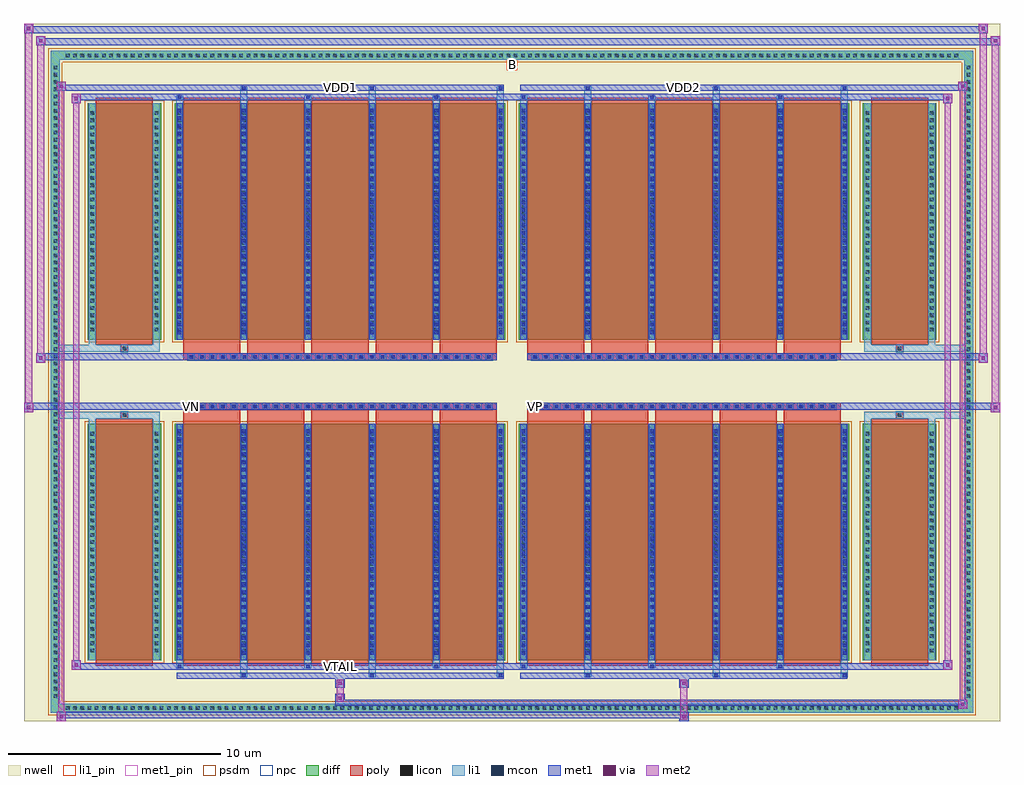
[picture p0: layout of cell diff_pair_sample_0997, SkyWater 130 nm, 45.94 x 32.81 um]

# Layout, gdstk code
import gdstk
lib = gdstk.Library(unit=1e-6, precision=5e-09)
def R(c, l, rs):  # rectangles x0, y0, x1, y1
    for r in rs: c.add(gdstk.rectangle(r[:2], r[2:], *l))
def A(c, l, x, y, w, h, nx, ny, dx, dy):  # array of equal rectangles
    R(c, l, [(x+i*dx, y+j*dy, x+i*dx+w, y+j*dy+h) for i in range(nx) for j in range(ny)])
def P(c, l, *ps):  # polygons
    for p in ps: c.add(gdstk.Polygon(p, *l))
nwell = (64, 20)
diff = (65, 20)
poly = (66, 20)
licon = (66, 44)
li1_pin = (67, 16)
li1 = (67, 20)
mcon = (67, 44)
met1_pin = (68, 16)
met1 = (68, 20)
via = (68, 44)
met2 = (69, 20)
psdm = (94, 20)
npc = (95, 20)

diff_pair_sample_0997 = lib.new_cell('diff_pair_sample_0997')
R(diff_pair_sample_0997, nwell, [(-22.97,-15.97,22.97,16.84), (-20.29,-14.16,-0.01,-0.8), (0.01,-14.16,20.29,-0.8), (-20.29,0.8,-0.01,14.16), (0.01,0.8,20.29,14.16)])
A(diff_pair_sample_0997, diff, -21.115, -15.57, 0.41, 0.41, 124, 2, 0.34, 30.73)
A(diff_pair_sample_0997, diff, -21.7, -14.995, 0.41, 0.41, 1, 88, 0, 0.34)
A(diff_pair_sample_0997, diff, 21.29, -14.995, 0.41, 0.41, 1, 88, 0, 0.34)
R(diff_pair_sample_0997, diff, [(-21.115,-15.57,21.115,-15.16), (-21.7,-14.995,-21.29,14.995), (21.29,-14.995,21.7,14.995), (-19.98,-13.115,-16.51,-1.985), (-15.87,-13.115,-0.32,-1.985), (0.32,-13.115,15.87,-1.985), (16.51,-13.115,19.98,-1.985), (-19.98,1.985,-16.51,13.115), (-15.87,1.985,-0.32,13.115), (0.32,1.985,15.87,13.115), (16.51,1.985,19.98,13.115), (-21.115,15.16,21.115,15.57)])
P(diff_pair_sample_0997, diff, [(21.7,15.57),(-21.7,15.57),(-21.7,-15.16),(-21.29,-15.16),(-21.29,15.16),(21.29,15.16),(21.29,-15.16),(-21.29,-15.16),(-21.7,-15.16),(-21.7,-15.57),(21.7,-15.57)])
A(diff_pair_sample_0997, poly, -15.48, -13.365, 2.69, 11.63, 5, 2, 3.02, 15.1)
A(diff_pair_sample_0997, poly, 0.71, -13.365, 2.69, 11.63, 5, 2, 3.02, 15.1)
A(diff_pair_sample_0997, poly, -15.48, -1.735, 2.69, 0.405, 5, 2, 3.02, 3.065)
A(diff_pair_sample_0997, poly, 0.71, -1.735, 2.69, 0.405, 5, 2, 3.02, 3.065)
A(diff_pair_sample_0997, poly, -15.26, -1.33, 0.33, 0.33, 29, 2, 0.5, 2.33)
A(diff_pair_sample_0997, poly, 0.93, -1.33, 0.33, 0.33, 29, 2, 0.5, 2.33)
R(diff_pair_sample_0997, poly, [(-19.59,-13.365,-16.9,-1.735), (16.9,-13.365,19.59,-1.735), (-18.41,-1.735,-18.08,-1.405), (-18.41,-1.735,-18.08,-1.405), (18.08,-1.735,18.41,-1.405), (18.08,-1.735,18.41,-1.405), (-15.48,-1.33,-0.71,-1), (0.71,-1.33,15.48,-1), (-15.48,1,-0.71,1.33), (0.71,1,15.48,1.33), (-18.41,1.405,-18.08,1.735), (-18.41,1.405,-18.08,1.735), (18.08,1.405,18.41,1.735), (18.08,1.405,18.41,1.735), (-19.59,1.735,-16.9,13.365), (16.9,1.735,19.59,13.365)])
A(diff_pair_sample_0997, licon, -20.995, -15.45, 0.17, 0.17, 124, 2, 0.34, 30.73)
A(diff_pair_sample_0997, licon, -21.58, -14.875, 0.17, 0.17, 1, 88, 0, 0.34)
A(diff_pair_sample_0997, licon, 21.41, -14.875, 0.17, 0.17, 1, 88, 0, 0.34)
A(diff_pair_sample_0997, licon, -19.84, -12.735, 0.17, 0.17, 1, 31, 0, 0.34)
A(diff_pair_sample_0997, licon, -16.82, -12.735, 0.17, 0.17, 1, 31, 0, 0.34)
A(diff_pair_sample_0997, licon, -15.73, -12.735, 0.17, 0.17, 6, 31, 3.02, 0.34)
A(diff_pair_sample_0997, licon, 0.46, -12.735, 0.17, 0.17, 6, 31, 3.02, 0.34)
A(diff_pair_sample_0997, licon, 16.65, -12.735, 0.17, 0.17, 1, 31, 0, 0.34)
A(diff_pair_sample_0997, licon, 19.67, -12.735, 0.17, 0.17, 1, 31, 0, 0.34)
A(diff_pair_sample_0997, licon, -15.18, -1.25, 0.17, 0.17, 29, 2, 0.5, 2.33)
A(diff_pair_sample_0997, licon, 1.01, -1.25, 0.17, 0.17, 29, 2, 0.5, 2.33)
A(diff_pair_sample_0997, licon, -19.84, 2.365, 0.17, 0.17, 1, 31, 0, 0.34)
A(diff_pair_sample_0997, licon, -16.82, 2.365, 0.17, 0.17, 1, 31, 0, 0.34)
A(diff_pair_sample_0997, licon, -15.73, 2.365, 0.17, 0.17, 6, 31, 3.02, 0.34)
A(diff_pair_sample_0997, licon, 0.46, 2.365, 0.17, 0.17, 6, 31, 3.02, 0.34)
A(diff_pair_sample_0997, licon, 16.65, 2.365, 0.17, 0.17, 1, 31, 0, 0.34)
A(diff_pair_sample_0997, licon, 19.67, 2.365, 0.17, 0.17, 1, 31, 0, 0.34)
R(diff_pair_sample_0997, licon, [(-18.33,-1.655,-18.16,-1.485), (18.16,-1.655,18.33,-1.485), (-18.33,1.485,-18.16,1.655), (18.16,1.485,18.33,1.655)])
R(diff_pair_sample_0997, li1_pin, [(-0.25,14.66,0.25,15.16)])
A(diff_pair_sample_0997, li1, -21.075, -15.53, 0.33, 0.33, 124, 2, 0.34, 30.73)
A(diff_pair_sample_0997, li1, -21.66, -14.955, 0.33, 0.33, 1, 88, 0, 0.34)
A(diff_pair_sample_0997, li1, 21.33, -14.955, 0.33, 0.33, 1, 88, 0, 0.34)
A(diff_pair_sample_0997, li1, -12.79, -13.92, 0.33, 0.805, 3, 2, 6.04, 27.035)
A(diff_pair_sample_0997, li1, -12.71, -13.92, 0.17, 0.17, 3, 2, 6.04, 27.67)
A(diff_pair_sample_0997, li1, 3.4, -13.92, 0.33, 0.805, 3, 2, 6.04, 27.035)
A(diff_pair_sample_0997, li1, 3.48, -13.92, 0.17, 0.17, 3, 2, 6.04, 27.67)
A(diff_pair_sample_0997, li1, -15.81, -13.49, 0.33, 0.375, 3, 2, 6.04, 26.605)
A(diff_pair_sample_0997, li1, -15.73, -13.49, 0.17, 0.17, 3, 2, 6.04, 26.81)
A(diff_pair_sample_0997, li1, 0.38, -13.49, 0.33, 0.375, 3, 2, 6.04, 26.605)
A(diff_pair_sample_0997, li1, 0.46, -13.49, 0.17, 0.17, 3, 2, 6.04, 26.81)
A(diff_pair_sample_0997, li1, -15.81, -13.115, 0.33, 11.13, 6, 2, 3.02, 15.1)
A(diff_pair_sample_0997, li1, 0.38, -13.115, 0.33, 11.13, 6, 2, 3.02, 15.1)
A(diff_pair_sample_0997, li1, -15.73, -12.855, 0.17, 0.17, 6, 30, 3.02, 0.36)
A(diff_pair_sample_0997, li1, -15.73, -12.855, 0.17, 10.61, 6, 2, 3.02, 15.1)
A(diff_pair_sample_0997, li1, 0.46, -12.855, 0.17, 0.17, 6, 30, 3.02, 0.36)
A(diff_pair_sample_0997, li1, 0.46, -12.855, 0.17, 10.61, 6, 2, 3.02, 15.1)
A(diff_pair_sample_0997, li1, -19.92, -12.815, 0.33, 0.33, 1, 31, 0, 0.34)
A(diff_pair_sample_0997, li1, -16.9, -12.815, 0.33, 0.33, 1, 31, 0, 0.34)
A(diff_pair_sample_0997, li1, -15.81, -12.815, 0.33, 0.33, 6, 31, 3.02, 0.34)
A(diff_pair_sample_0997, li1, 0.38, -12.815, 0.33, 0.33, 6, 31, 3.02, 0.34)
A(diff_pair_sample_0997, li1, 16.57, -12.815, 0.33, 0.33, 1, 31, 0, 0.34)
A(diff_pair_sample_0997, li1, 19.59, -12.815, 0.33, 0.33, 1, 31, 0, 0.34)
A(diff_pair_sample_0997, li1, -15.26, -1.33, 0.33, 0.33, 29, 2, 0.5, 2.33)
A(diff_pair_sample_0997, li1, 0.93, -1.33, 0.33, 0.33, 29, 2, 0.5, 2.33)
A(diff_pair_sample_0997, li1, -15.73, 2.245, 0.17, 0.17, 6, 30, 3.02, 0.36)
A(diff_pair_sample_0997, li1, 0.46, 2.245, 0.17, 0.17, 6, 30, 3.02, 0.36)
A(diff_pair_sample_0997, li1, -19.92, 2.285, 0.33, 0.33, 1, 31, 0, 0.34)
A(diff_pair_sample_0997, li1, -16.9, 2.285, 0.33, 0.33, 1, 31, 0, 0.34)
A(diff_pair_sample_0997, li1, -15.81, 2.285, 0.33, 0.33, 6, 31, 3.02, 0.34)
A(diff_pair_sample_0997, li1, 0.38, 2.285, 0.33, 0.33, 6, 31, 3.02, 0.34)
A(diff_pair_sample_0997, li1, 16.57, 2.285, 0.33, 0.33, 1, 31, 0, 0.34)
A(diff_pair_sample_0997, li1, 19.59, 2.285, 0.33, 0.33, 1, 31, 0, 0.34)
R(diff_pair_sample_0997, li1, [(-21.7,-15.57,-21.29,-15.16), (-21.7,-15.57,-21.29,-15.16), (-21.29,-15.57,21.29,-15.16), (21.29,-15.57,21.7,-15.16), (21.29,-15.57,21.7,-15.16), (-21.7,-15.16,-21.29,15.16), (21.29,-15.16,21.7,15.16), (-19.92,-13.115,-19.59,-1.985), (-16.9,-13.115,-16.57,-1.985), (16.57,-13.115,16.9,-1.985), (19.59,-13.115,19.92,-1.985), (-19.92,-1.985,-19.59,-1.405), (-16.9,-1.985,-16.57,-1.405), (16.57,-1.985,16.9,-1.405), (19.59,-1.985,19.92,-1.405), (-21.7,-1.735,-18.41,-1.405), (-19.92,-1.735,-18.41,-1.405), (-18.41,-1.735,-18.08,-1.405), (-18.08,-1.735,-16.57,-1.405), (16.57,-1.735,18.08,-1.405), (18.08,-1.735,18.41,-1.405), (18.08,-1.735,21.7,-1.405), (18.41,-1.735,19.92,-1.405), (-21.7,1.405,-18.41,1.735), (-19.92,1.405,-18.41,1.735), (-19.92,1.405,-19.59,1.985), (-18.41,1.405,-18.08,1.735), (-18.08,1.405,-16.57,1.735), (-16.9,1.405,-16.57,1.985), (16.57,1.405,18.08,1.735), (16.57,1.405,16.9,1.985), (18.08,1.405,18.41,1.735), (18.08,1.405,21.7,1.735), (18.41,1.405,19.92,1.735), (19.59,1.405,19.92,1.985), (-19.92,1.985,-19.59,13.115), (-16.9,1.985,-16.57,13.115), (16.57,1.985,16.9,13.115), (19.59,1.985,19.92,13.115), (-21.7,15.16,-21.29,15.57), (-21.7,15.16,-21.29,15.57), (-21.29,15.16,21.29,15.57), (21.29,15.16,21.7,15.57), (21.29,15.16,21.7,15.57)])
A(diff_pair_sample_0997, mcon, -12.71, -13.92, 0.17, 0.17, 3, 2, 6.04, 27.67)
A(diff_pair_sample_0997, mcon, 3.48, -13.92, 0.17, 0.17, 3, 2, 6.04, 27.67)
A(diff_pair_sample_0997, mcon, -15.73, -13.49, 0.17, 0.17, 3, 2, 6.04, 26.81)
A(diff_pair_sample_0997, mcon, 0.46, -13.49, 0.17, 0.17, 3, 2, 6.04, 26.81)
A(diff_pair_sample_0997, mcon, -15.73, -12.855, 0.17, 0.17, 6, 30, 3.02, 0.36)
A(diff_pair_sample_0997, mcon, 0.46, -12.855, 0.17, 0.17, 6, 30, 3.02, 0.36)
A(diff_pair_sample_0997, mcon, -15.18, -1.25, 0.17, 0.17, 29, 2, 0.5, 2.33)
A(diff_pair_sample_0997, mcon, 1.01, -1.25, 0.17, 0.17, 29, 2, 0.5, 2.33)
A(diff_pair_sample_0997, mcon, -15.73, 2.245, 0.17, 0.17, 6, 30, 3.02, 0.36)
A(diff_pair_sample_0997, mcon, 0.46, 2.245, 0.17, 0.17, 6, 30, 3.02, 0.36)
R(diff_pair_sample_0997, met1_pin, [(-8.23,-13.53,-7.96,-13.26), (-15.23,-1.29,-14.96,-1.02), (0.96,-1.29,1.23,-1.02), (-8.23,13.71,-7.96,13.98), (7.96,13.71,8.23,13.98)])
A(diff_pair_sample_0997, met1, -12.77, -13.98, 0.29, 0.29, 3, 2, 6.04, 27.67)
A(diff_pair_sample_0997, met1, 3.42, -13.98, 0.29, 0.29, 3, 2, 6.04, 27.67)
A(diff_pair_sample_0997, met1, -15.79, -13.55, 0.29, 0.29, 3, 2, 6.04, 26.81)
A(diff_pair_sample_0997, met1, 0.4, -13.55, 0.29, 0.29, 3, 2, 6.04, 26.81)
A(diff_pair_sample_0997, met1, -15.79, -13.115, 0.29, 11.13, 6, 2, 3.02, 15.1)
A(diff_pair_sample_0997, met1, 0.4, -13.115, 0.29, 11.13, 6, 2, 3.02, 15.1)
A(diff_pair_sample_0997, met1, -15.79, -12.915, 0.29, 0.29, 6, 30, 3.02, 0.36)
A(diff_pair_sample_0997, met1, 0.4, -12.915, 0.29, 0.29, 6, 30, 3.02, 0.36)
A(diff_pair_sample_0997, met1, -15.24, -1.31, 0.29, 0.29, 29, 2, 0.5, 2.33)
A(diff_pair_sample_0997, met1, 0.95, -1.31, 0.29, 0.29, 29, 2, 0.5, 2.33)
A(diff_pair_sample_0997, met1, -15.79, 2.185, 0.29, 0.29, 6, 30, 3.02, 0.36)
A(diff_pair_sample_0997, met1, 0.4, 2.185, 0.29, 0.29, 6, 30, 3.02, 0.36)
R(diff_pair_sample_0997, met1, [(-21.43,-15.97,-21,-15.54), (7.88,-15.97,8.31,-15.54), (-21.43,-15.83,8.31,-15.54), (21,-15.4,21.43,-14.97), (-8.31,-15.26,21.43,-14.97), (-8.31,-15.12,-7.88,-14.69), (-8.31,-14.41,-7.88,-13.98), (7.88,-14.41,8.31,-13.98), (-15.79,-13.98,-0.4,-13.69), (0.4,-13.98,15.79,-13.69), (-20.72,-13.55,-20.29,-13.12), (-20.72,-13.55,-15.79,-13.26), (-15.79,-13.55,-0.4,-13.26), (-0.4,-13.55,0.4,-13.26), (0.4,-13.55,15.79,-13.26), (15.79,-13.55,20.72,-13.26), (20.29,-13.55,20.72,-13.12), (-22.97,-1.43,-22.54,-1), (22.54,-1.43,22.97,-1), (-22.97,-1.33,-0.71,-1), (-15.48,-1.33,-0.71,-1), (0.71,-1.33,15.48,-1), (0.71,-1.33,22.97,-1), (-22.4,0.9,-21.97,1.33), (21.97,0.9,22.4,1.33), (-22.4,1,-15.48,1.33), (-15.48,1,-0.71,1.33), (0.71,1,15.48,1.33), (15.48,1,22.4,1.33), (-20.72,13.12,-20.29,13.55), (20.29,13.12,20.72,13.55), (-20.72,13.26,-15.79,13.55), (-15.79,13.26,-0.4,13.55), (-0.4,13.26,0.4,13.55), (0.4,13.26,15.79,13.55), (15.79,13.26,20.72,13.55), (-21.43,13.69,-21,14.12), (-21.43,13.69,-15.79,13.98), (-15.79,13.69,-0.4,13.98), (0.4,13.69,15.79,13.98), (15.79,13.69,21.43,13.98), (21,13.69,21.43,14.12), (-22.4,15.84,-21.97,16.27), (-22.4,15.84,-20.29,16.17), (-20.29,15.84,20.29,16.17), (20.29,15.84,22.97,16.17), (22.54,15.84,22.97,16.27), (-22.97,16.41,-22.54,16.84), (-22.97,16.41,-20.29,16.74), (-20.29,16.41,20.29,16.74), (20.29,16.41,22.4,16.74), (21.97,16.41,22.4,16.84)])
R(diff_pair_sample_0997, via, [(-21.29,-15.83,-21.14,-15.68), (8.02,-15.83,8.17,-15.68), (21.14,-15.26,21.29,-15.11), (-8.17,-14.98,-8.02,-14.83), (-8.17,-14.27,-8.02,-14.12), (8.02,-14.27,8.17,-14.12), (-20.58,-13.41,-20.43,-13.26), (20.43,-13.41,20.58,-13.26), (-22.83,-1.29,-22.68,-1.14), (22.68,-1.29,22.83,-1.14), (-22.26,1.04,-22.11,1.19), (22.11,1.04,22.26,1.19), (-20.58,13.26,-20.43,13.41), (20.43,13.26,20.58,13.41), (-21.29,13.83,-21.14,13.98), (21.14,13.83,21.29,13.98), (-22.26,15.98,-22.11,16.13), (22.68,15.98,22.83,16.13), (-22.83,16.55,-22.68,16.7), (22.11,16.55,22.26,16.7)])
R(diff_pair_sample_0997, met2, [(-21.43,-15.97,-21,-15.54), (-21.36,-15.97,-21.07,14.12), (-21.07,-15.97,-21,-15.54), (-21.38,-15.92,-21.05,-15.59), (7.93,-15.92,8.26,-15.59), (7.93,-15.59,8.26,-14.36), (21,-15.4,21.43,-14.97), (21.07,-15.4,21.36,14.12), (21.36,-15.4,21.43,-14.97), (21.05,-15.35,21.38,-15.02), (-8.26,-15.07,-7.93,-14.74), (-8.26,-14.74,-7.93,-14.36), (-8.26,-14.36,-7.93,-14.03), (7.93,-14.36,8.26,-14.03), (-20.72,-13.55,-20.29,-13.12), (-20.65,-13.55,-20.36,13.55), (-20.36,-13.55,-20.29,-13.12), (20.29,-13.55,20.72,-13.12), (20.36,-13.55,20.65,13.55), (20.65,-13.55,20.72,-13.12), (-20.67,-13.5,-20.34,-13.17), (20.34,-13.5,20.67,-13.17), (-22.97,-1.43,-22.54,-1), (-22.92,-1.43,-22.59,16.84), (-22.59,-1.43,-22.54,-1), (22.54,-1.43,22.97,-1), (22.59,-1.43,22.92,16.27), (22.92,-1.43,22.97,-1), (-22.92,-1.38,-22.59,-1.05), (22.59,-1.38,22.92,-1.05), (-22.4,0.9,-21.97,1.33), (-22.35,0.9,-22.02,16.27), (-22.02,0.9,-21.97,1.33), (21.97,0.9,22.4,1.33), (22.02,0.9,22.35,16.84), (22.35,0.9,22.4,1.33), (-22.35,0.95,-22.02,1.28), (22.02,0.95,22.35,1.28), (-20.72,13.12,-20.29,13.55), (-20.36,13.12,-20.29,13.55), (20.29,13.12,20.72,13.55), (20.65,13.12,20.72,13.55), (-20.67,13.17,-20.34,13.5), (20.34,13.17,20.67,13.5), (-21.43,13.69,-21,14.12), (-21.07,13.69,-21,14.12), (21,13.69,21.43,14.12), (21.36,13.69,21.43,14.12), (-21.38,13.74,-21.05,14.07), (21.05,13.74,21.38,14.07), (-22.4,15.84,-21.97,16.27), (-22.02,15.84,-21.97,16.27), (22.54,15.84,22.97,16.27), (22.92,15.84,22.97,16.27), (-22.35,15.89,-22.02,16.22), (22.59,15.89,22.92,16.22), (-22.97,16.41,-22.54,16.84), (-22.59,16.41,-22.54,16.84), (21.97,16.41,22.4,16.84), (22.35,16.41,22.4,16.84), (-22.92,16.46,-22.59,16.79), (22.02,16.46,22.35,16.79)])
R(diff_pair_sample_0997, psdm, [(-20.11,-13.245,-16.38,-1.855), (-16,-13.245,-0.19,-1.855), (0.19,-13.245,16,-1.855), (16.38,-13.245,20.11,-1.855), (-20.11,1.855,-16.38,13.245), (-16,1.855,-0.19,13.245), (0.19,1.855,16,13.245), (16.38,1.855,20.11,13.245)])
P(diff_pair_sample_0997, psdm, [(21.83,15.7),(-21.83,15.7),(-21.83,-15.03),(-21.16,-15.03),(-21.16,15.03),(21.16,15.03),(21.16,-15.03),(-21.16,-15.03),(-21.83,-15.03),(-21.83,-15.7),(21.83,-15.7)])
A(diff_pair_sample_0997, npc, -15.28, -1.35, 0.37, 0.37, 29, 2, 0.5, 2.33)
A(diff_pair_sample_0997, npc, 0.91, -1.35, 0.37, 0.37, 29, 2, 0.5, 2.33)
R(diff_pair_sample_0997, npc, [(-18.43,-1.755,-18.06,-1.385), (18.06,-1.755,18.43,-1.385), (-15.28,-1.35,-14.41,-0.98), (-15.28,-1.35,-14.41,-0.98), (-14.78,-1.35,-13.91,-0.98), (-14.78,-1.35,-13.91,-0.98), (-14.28,-1.35,-13.41,-0.98), (-14.28,-1.35,-13.41,-0.98), (-13.78,-1.35,-12.91,-0.98), (-13.78,-1.35,-12.91,-0.98), (-13.28,-1.35,-12.41,-0.98), (-13.28,-1.35,-12.41,-0.98), (-12.78,-1.35,-11.91,-0.98), (-12.78,-1.35,-11.91,-0.98), (-12.28,-1.35,-11.41,-0.98), (-12.28,-1.35,-11.41,-0.98), (-11.78,-1.35,-10.91,-0.98), (-11.78,-1.35,-10.91,-0.98), (-11.28,-1.35,-10.41,-0.98), (-11.28,-1.35,-10.41,-0.98), (-10.78,-1.35,-9.91,-0.98), (-10.78,-1.35,-9.91,-0.98), (-10.28,-1.35,-9.41,-0.98), (-10.28,-1.35,-9.41,-0.98), (-9.78,-1.35,-8.91,-0.98), (-9.78,-1.35,-8.91,-0.98), (-9.28,-1.35,-8.41,-0.98), (-9.28,-1.35,-8.41,-0.98), (-8.78,-1.35,-7.91,-0.98), (-8.78,-1.35,-7.91,-0.98), (-8.28,-1.35,-7.41,-0.98), (-8.28,-1.35,-7.41,-0.98), (-7.78,-1.35,-6.91,-0.98), (-7.78,-1.35,-6.91,-0.98), (-7.28,-1.35,-6.41,-0.98), (-7.28,-1.35,-6.41,-0.98), (-6.78,-1.35,-5.91,-0.98), (-6.78,-1.35,-5.91,-0.98), (-6.28,-1.35,-5.41,-0.98), (-6.28,-1.35,-5.41,-0.98), (-5.78,-1.35,-4.91,-0.98), (-5.78,-1.35,-4.91,-0.98), (-5.28,-1.35,-4.41,-0.98), (-5.28,-1.35,-4.41,-0.98), (-4.78,-1.35,-3.91,-0.98), (-4.78,-1.35,-3.91,-0.98), (-4.28,-1.35,-3.41,-0.98), (-4.28,-1.35,-3.41,-0.98), (-3.78,-1.35,-2.91,-0.98), (-3.78,-1.35,-2.91,-0.98), (-3.28,-1.35,-2.41,-0.98), (-3.28,-1.35,-2.41,-0.98), (-2.78,-1.35,-1.91,-0.98), (-2.78,-1.35,-1.91,-0.98), (-2.28,-1.35,-1.41,-0.98), (-2.28,-1.35,-1.41,-0.98), (-1.78,-1.35,-0.91,-0.98), (-1.78,-1.35,-0.91,-0.98), (0.91,-1.35,1.78,-0.98), (0.91,-1.35,1.78,-0.98), (1.41,-1.35,2.28,-0.98), (1.41,-1.35,2.28,-0.98), (1.91,-1.35,2.78,-0.98), (1.91,-1.35,2.78,-0.98), (2.41,-1.35,3.28,-0.98), (2.41,-1.35,3.28,-0.98), (2.91,-1.35,3.78,-0.98), (2.91,-1.35,3.78,-0.98), (3.41,-1.35,4.28,-0.98), (3.41,-1.35,4.28,-0.98), (3.91,-1.35,4.78,-0.98), (3.91,-1.35,4.78,-0.98), (4.41,-1.35,5.28,-0.98), (4.41,-1.35,5.28,-0.98), (4.91,-1.35,5.78,-0.98), (4.91,-1.35,5.78,-0.98), (5.41,-1.35,6.28,-0.98), (5.41,-1.35,6.28,-0.98), (5.91,-1.35,6.78,-0.98), (5.91,-1.35,6.78,-0.98), (6.41,-1.35,7.28,-0.98), (6.41,-1.35,7.28,-0.98), (6.91,-1.35,7.78,-0.98), (6.91,-1.35,7.78,-0.98), (7.41,-1.35,8.28,-0.98), (7.41,-1.35,8.28,-0.98), (7.91,-1.35,8.78,-0.98), (7.91,-1.35,8.78,-0.98), (8.41,-1.35,9.28,-0.98), (8.41,-1.35,9.28,-0.98), (8.91,-1.35,9.78,-0.98), (8.91,-1.35,9.78,-0.98), (9.41,-1.35,10.28,-0.98), (9.41,-1.35,10.28,-0.98), (9.91,-1.35,10.78,-0.98), (9.91,-1.35,10.78,-0.98), (10.41,-1.35,11.28,-0.98), (10.41,-1.35,11.28,-0.98), (10.91,-1.35,11.78,-0.98), (10.91,-1.35,11.78,-0.98), (11.41,-1.35,12.28,-0.98), (11.41,-1.35,12.28,-0.98), (11.91,-1.35,12.78,-0.98), (11.91,-1.35,12.78,-0.98), (12.41,-1.35,13.28,-0.98), (12.41,-1.35,13.28,-0.98), (12.91,-1.35,13.78,-0.98), (12.91,-1.35,13.78,-0.98), (13.41,-1.35,14.28,-0.98), (13.41,-1.35,14.28,-0.98), (13.91,-1.35,14.78,-0.98), (13.91,-1.35,14.78,-0.98), (14.41,-1.35,15.28,-0.98), (14.41,-1.35,15.28,-0.98), (-15.28,0.98,-14.41,1.35), (-15.28,0.98,-14.41,1.35), (-14.78,0.98,-13.91,1.35), (-14.78,0.98,-13.91,1.35), (-14.28,0.98,-13.41,1.35), (-14.28,0.98,-13.41,1.35), (-13.78,0.98,-12.91,1.35), (-13.78,0.98,-12.91,1.35), (-13.28,0.98,-12.41,1.35), (-13.28,0.98,-12.41,1.35), (-12.78,0.98,-11.91,1.35), (-12.78,0.98,-11.91,1.35), (-12.28,0.98,-11.41,1.35), (-12.28,0.98,-11.41,1.35), (-11.78,0.98,-10.91,1.35), (-11.78,0.98,-10.91,1.35), (-11.28,0.98,-10.41,1.35), (-11.28,0.98,-10.41,1.35), (-10.78,0.98,-9.91,1.35), (-10.78,0.98,-9.91,1.35), (-10.28,0.98,-9.41,1.35), (-10.28,0.98,-9.41,1.35), (-9.78,0.98,-8.91,1.35), (-9.78,0.98,-8.91,1.35), (-9.28,0.98,-8.41,1.35), (-9.28,0.98,-8.41,1.35), (-8.78,0.98,-7.91,1.35), (-8.78,0.98,-7.91,1.35), (-8.28,0.98,-7.41,1.35), (-8.28,0.98,-7.41,1.35), (-7.78,0.98,-6.91,1.35), (-7.78,0.98,-6.91,1.35), (-7.28,0.98,-6.41,1.35), (-7.28,0.98,-6.41,1.35), (-6.78,0.98,-5.91,1.35), (-6.78,0.98,-5.91,1.35), (-6.28,0.98,-5.41,1.35), (-6.28,0.98,-5.41,1.35), (-5.78,0.98,-4.91,1.35), (-5.78,0.98,-4.91,1.35), (-5.28,0.98,-4.41,1.35), (-5.28,0.98,-4.41,1.35), (-4.78,0.98,-3.91,1.35), (-4.78,0.98,-3.91,1.35), (-4.28,0.98,-3.41,1.35), (-4.28,0.98,-3.41,1.35), (-3.78,0.98,-2.91,1.35), (-3.78,0.98,-2.91,1.35), (-3.28,0.98,-2.41,1.35), (-3.28,0.98,-2.41,1.35), (-2.78,0.98,-1.91,1.35), (-2.78,0.98,-1.91,1.35), (-2.28,0.98,-1.41,1.35), (-2.28,0.98,-1.41,1.35), (-1.78,0.98,-0.91,1.35), (-1.78,0.98,-0.91,1.35), (0.91,0.98,1.78,1.35), (0.91,0.98,1.78,1.35), (1.41,0.98,2.28,1.35), (1.41,0.98,2.28,1.35), (1.91,0.98,2.78,1.35), (1.91,0.98,2.78,1.35), (2.41,0.98,3.28,1.35), (2.41,0.98,3.28,1.35), (2.91,0.98,3.78,1.35), (2.91,0.98,3.78,1.35), (3.41,0.98,4.28,1.35), (3.41,0.98,4.28,1.35), (3.91,0.98,4.78,1.35), (3.91,0.98,4.78,1.35), (4.41,0.98,5.28,1.35), (4.41,0.98,5.28,1.35), (4.91,0.98,5.78,1.35), (4.91,0.98,5.78,1.35), (5.41,0.98,6.28,1.35), (5.41,0.98,6.28,1.35), (5.91,0.98,6.78,1.35), (5.91,0.98,6.78,1.35), (6.41,0.98,7.28,1.35), (6.41,0.98,7.28,1.35), (6.91,0.98,7.78,1.35), (6.91,0.98,7.78,1.35), (7.41,0.98,8.28,1.35), (7.41,0.98,8.28,1.35), (7.91,0.98,8.78,1.35), (7.91,0.98,8.78,1.35), (8.41,0.98,9.28,1.35), (8.41,0.98,9.28,1.35), (8.91,0.98,9.78,1.35), (8.91,0.98,9.78,1.35), (9.41,0.98,10.28,1.35), (9.41,0.98,10.28,1.35), (9.91,0.98,10.78,1.35), (9.91,0.98,10.78,1.35), (10.41,0.98,11.28,1.35), (10.41,0.98,11.28,1.35), (10.91,0.98,11.78,1.35), (10.91,0.98,11.78,1.35), (11.41,0.98,12.28,1.35), (11.41,0.98,12.28,1.35), (11.91,0.98,12.78,1.35), (11.91,0.98,12.78,1.35), (12.41,0.98,13.28,1.35), (12.41,0.98,13.28,1.35), (12.91,0.98,13.78,1.35), (12.91,0.98,13.78,1.35), (13.41,0.98,14.28,1.35), (13.41,0.98,14.28,1.35), (13.91,0.98,14.78,1.35), (13.91,0.98,14.78,1.35), (14.41,0.98,15.28,1.35), (14.41,0.98,15.28,1.35), (-18.43,1.385,-18.06,1.755), (18.06,1.385,18.43,1.755)])
diff_pair_sample_0997.add(gdstk.Label('VTAIL', (-8.095,-13.395), layer=68, texttype=5))
diff_pair_sample_0997.add(gdstk.Label('VN', (-15.095,-1.155), layer=68, texttype=5))
diff_pair_sample_0997.add(gdstk.Label('VP', (1.095,-1.155), layer=68, texttype=5))
diff_pair_sample_0997.add(gdstk.Label('B', (0,14.91), layer=67, texttype=5))
diff_pair_sample_0997.add(gdstk.Label('VDD2', (8.095,13.845), layer=68, texttype=5))
diff_pair_sample_0997.add(gdstk.Label('VDD1', (-8.095,13.845), layer=68, texttype=5))

lib.write_gds('diff_pair_sample_0997.gds')
